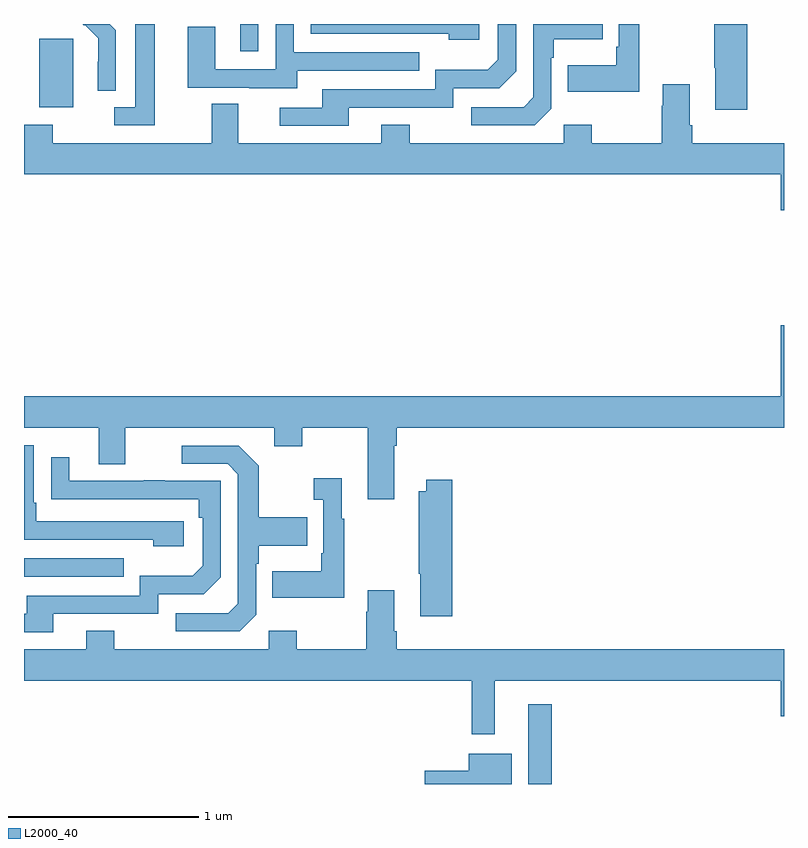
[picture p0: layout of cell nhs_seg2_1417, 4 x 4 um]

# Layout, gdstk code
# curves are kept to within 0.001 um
import gdstk
lib = gdstk.Library(unit=1e-6, precision=1e-09)
def R(c, l, rs):  # rectangles x0, y0, x1, y1
    for r in rs: c.add(gdstk.rectangle(r[:2], r[2:], *l))
def P(c, l, *ps):  # polygons
    for p in ps: c.add(gdstk.Polygon(p, *l))
L2000_40 = (2000, 40)

nhs_seg2_1417 = lib.new_cell('nhs_seg2_1417')
R(nhs_seg2_1417, L2000_40, [(187.655,605.8,187.777,606.22), (185,606.891,185.525,606.987), (185.081,609.362,185.26,609.723), (186.137,609.657,186.234,609.8)])
P(nhs_seg2_1417, L2000_40, [(188.807,609.8),(188.632,609.8),(188.632,609.571),(188.639,609.571),(188.639,609.348),(188.807,609.348)],
  [(187.776,609.354),(187.776,609.623),(187.789,609.623),(187.789,609.719),(188.045,609.719),(188.045,609.8),(187.68,609.8),(187.68,609.414),(187.629,609.363),(187.353,609.363),(187.353,609.267),(187.689,609.267)],
  [(187.396,609.8),(186.51,609.8),(186.51,609.75),(187.235,609.75),(187.235,609.716),(187.396,609.716)],
  [(185.484,609.766),(185.45,609.8),(185.308,609.8),(185.316,609.792),(185.319,609.795),(185.39,609.725),(185.39,609.602),(185.388,609.602),(185.388,609.448),(185.484,609.448)],
  [(186.709,609.36),(187.26,609.36),(187.26,609.462),(187.5,609.462),(187.59,609.552),(187.59,609.8),(187.494,609.8),(187.494,609.612),(187.441,609.559),(187.164,609.559),(187.164,609.456),(186.569,609.456),(186.569,609.36),(186.345,609.36),(186.345,609.264),(186.709,609.264)],
  [(186.439,609.555),(187.079,609.555),(187.079,609.651),(186.42,609.651),(186.42,609.8),(186.324,609.8),(186.324,609.561),(186.006,609.561),(186.006,609.785),(185.861,609.785),(185.861,609.465),(186.185,609.465),(186.185,609.461),(186.439,609.461)],
  [(188.239,609.8),(188.13,609.8),(188.13,609.679),(188.118,609.679),(188.118,609.583),(187.861,609.583),(187.861,609.443),(188.239,609.443)],
  [(185.689,609.8),(185.585,609.8),(185.585,609.363),(185.475,609.363),(185.475,609.267),(185.689,609.267)],
  [(189,609.172),(188.516,609.172),(188.516,609.268),(188.503,609.268),(188.503,609.484),(188.363,609.484),(188.363,609.371),(188.356,609.371),(188.356,609.172),(187.989,609.172),(187.989,609.271),(187.842,609.271),(187.842,609.172),(187.029,609.172),(187.029,609.271),(186.881,609.271),(186.881,609.172),(186.127,609.172),(186.127,609.38),(185.987,609.38),(185.987,609.172),(185.151,609.172),(185.151,609.271),(185,609.271),(185,609.008),(188.984,609.008),(188.984,608.82),(189,608.82)],
  [(186.949,607.58),(186.962,607.58),(186.962,607.676),(189,607.676),(189,608.215),(188.984,608.215),(188.984,607.84),(185,607.84),(185,607.676),(185.393,607.676),(185.393,607.482),(185.533,607.482),(185.533,607.676),(186.317,607.676),(186.317,607.577),(186.465,607.577),(186.465,607.676),(186.809,607.676),(186.809,607.299),(186.949,607.299)],
  [(185.842,607.182),(185.065,607.182),(185.065,607.279),(185.052,607.279),(185.052,607.584),(185,607.584),(185,607.086),(185.681,607.086),(185.681,607.052),(185.842,607.052)],
  [(186.222,606.69),(186.222,606.959),(186.235,606.959),(186.235,607.055),(186.491,607.055),(186.491,607.203),(186.235,607.203),(186.235,607.475),(186.129,607.581),(185.829,607.581),(185.829,607.485),(186.072,607.485),(186.126,607.431),(186.126,606.75),(186.075,606.699),(185.799,606.699),(185.799,606.603),(186.135,606.603)],
  [(185.155,606.696),(185.706,606.696),(185.706,606.798),(185.946,606.798),(186.036,606.888),(186.036,607.395),(185.741,607.395),(185.741,607.4),(185.629,607.4),(185.629,607.395),(185.239,607.395),(185.239,607.519),(185.143,607.519),(185.143,607.3),(185.92,607.299),(185.92,607.202),(185.94,607.202),(185.94,606.948),(185.887,606.895),(185.61,606.895),(185.61,606.792),(185.015,606.792),(185.015,606.696),(185,606.696),(185,606.6),(185.155,606.6)],
  [(186.685,607.195),(186.673,607.195),(186.673,607.408),(186.525,607.408),(186.525,607.295),(186.576,607.295),(186.576,607.015),(186.564,607.015),(186.564,606.919),(186.307,606.919),(186.307,606.779),(186.685,606.779)],
  [(187.253,607.402),(187.118,607.402),(187.118,607.342),(187.078,607.342),(187.078,606.907),(187.085,606.907),(187.085,606.684),(187.253,606.684)],
  [(187.477,606.344),(188.984,606.344),(188.984,606.156),(189,606.156),(189,606.508),(186.962,606.508),(186.962,606.604),(186.949,606.604),(186.949,606.82),(186.809,606.82),(186.809,606.707),(186.802,606.707),(186.802,606.508),(186.435,606.508),(186.435,606.607),(186.288,606.607),(186.288,606.508),(185.475,606.508),(185.475,606.607),(185.327,606.607),(185.327,606.508),(185,606.508),(185,606.344),(187.356,606.344),(187.356,606.063),(187.477,606.063)],
  [(187.567,605.959),(187.34,605.959),(187.34,605.871),(187.11,605.871),(187.11,605.8),(187.567,605.8)])

lib.write_gds('nhs_seg2_1417.gds')
